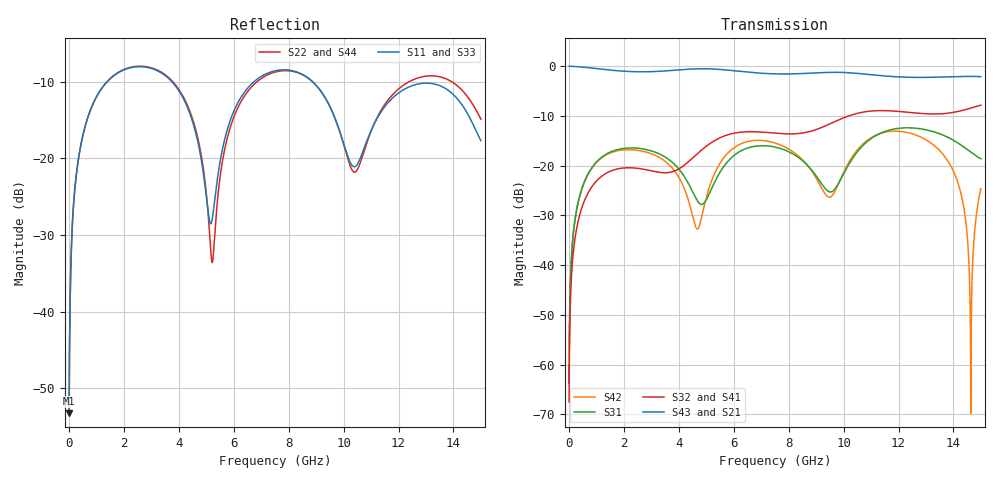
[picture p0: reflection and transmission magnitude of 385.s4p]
! Created with skrf 1.8.0 (http://scikit-rf.org).
# GHz S RI R 50.0
!freq ReS11 ImS11 ReS12 ImS12 ReS13 ImS13
! ReS14 ImS14
! ReS21 ImS21 ReS22 ImS22 ReS23 ImS23
! ReS24 ImS24
! ReS31 ImS31 ReS32 ImS32 ReS33 ImS33
! ReS34 ImS34
! ReS41 ImS41 ReS42 ImS42 ReS43 ImS43
! ReS44 ImS44
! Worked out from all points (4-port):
!   2499 points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, 5 MHz to 15 GHz, reference 50 ohm
!   strongest paths, dB at 5 MHz, 3.476 GHz, 7.19 GHz, 11.1 GHz, 15 GHz:
!     S43: 0.0, -1.0, -1.5, -1.8, -2.1
!     S21: 0.0, -1.0, -1.5, -1.8, -2.1
!     S32: -67.5, -21.4, -13.3, -9.0, -7.9
!     S41: -67.5, -21.5, -13.3, -9.0, -7.8
!     S31: -63.7, -18.2, -16.0, -14.2, -18.6
!     S42: -63.7, -19.0, -15.1, -14.1, -24.6
!   lowest |S11| = -53.2 dB at 5 MHz (marker M1), VSWR 1.00, Z = 50.2 + j0.133 ohm
!   |S11| at or under -10 dB: start of sweep to 1.396 GHz; 3.741 GHz to 6.744 GHz (3.002 GHz wide, 57.3 % of centre); 8.864 GHz to end of sweep
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0.005  0.00173 0.00132  0.9982 -0.00337  8.61e-05 0.000651  -8.38e-05 -0.000414
       0.9982 -0.00337  0.00173 0.00132  -8.38e-05 -0.000414  8.59e-05 0.000651
       8.61e-05 0.000651  -8.38e-05 -0.000414  0.00173 0.00132  0.9982 -0.00337
       -8.38e-05 -0.000414  8.59e-05 0.000651  0.9982 -0.00337  0.00173 0.00132
1.519383  0.281 0.1773  0.5256 -0.7438  0.1288 0.048  -0.0881 -0.00281
          0.5256 -0.7438  0.2839 0.1753  -0.0881 -0.00274  0.1203 0.0603
          0.1288 0.048  -0.0881 -0.00274  0.281 0.1773  0.5256 -0.7438
          -0.0881 -0.00281  0.1203 0.0603  0.5256 -0.7438  0.2839 0.1752
5.214673  0.0382 0.0115  -0.935 -0.0382  -0.0256 0.0547  -0.00292 0.1724
          -0.935 -0.0382  0.0209 -0.00132  -0.00168 0.1723  0.0386 0.0619
          -0.0256 0.0547  -0.00168 0.1723  0.0397 0.011  -0.935 -0.0385
          -0.00292 0.1724  0.0386 0.0619  -0.935 -0.0385  0.0195 -0.00173
7.940809  0.376 -0.0206  -0.0312 0.8324  0.1187 -0.0749  0.2027 -0.0467
          -0.0312 0.8324  0.3722 -0.0115  0.2026 -0.0488  0.1236 -0.0848
          0.1187 -0.0749  0.2026 -0.0488  0.374 -0.0216  -0.0315 0.8331
          0.2027 -0.0467  0.1236 -0.0848  -0.0315 0.8331  0.3705 -0.0104
13.29929  0.303 -0.0359  0.0479 -0.7712  0.1479 -0.1603  -0.3269 0.0434
          0.0479 -0.7712  0.3407 -0.0482  -0.3265 0.0489  0.1461 -0.0636
          0.1479 -0.1603  -0.3265 0.0489  0.3007 -0.0375  0.0487 -0.7718
          -0.3269 0.0434  0.1461 -0.0636  0.0487 -0.7718  0.3397 -0.0452
14.6311  0.1586 -0.0818  -0.5284 -0.585  -0.0835 -0.1083  -0.2761 0.2589
         -0.5284 -0.585  0.1858 -0.1446  -0.2709 0.264  0.000274 -0.000173
         -0.0835 -0.1083  -0.2709 0.264  0.1578 -0.0797  -0.5284 -0.5858
         -0.2761 0.2589  0.000274 -0.000173  -0.5284 -0.5858  0.1839 -0.1424
15  0.1238 -0.0407  -0.645 -0.444  -0.1121 -0.0344  -0.2308 0.3332
    -0.645 -0.444  0.1367 -0.1168  -0.224 0.3372  -0.00574 0.0584
    -0.1121 -0.0344  -0.224 0.3372  0.1246 -0.0385  -0.645 -0.4446
    -0.2308 0.3332  -0.00574 0.0584  -0.645 -0.4446  0.1343 -0.1144
